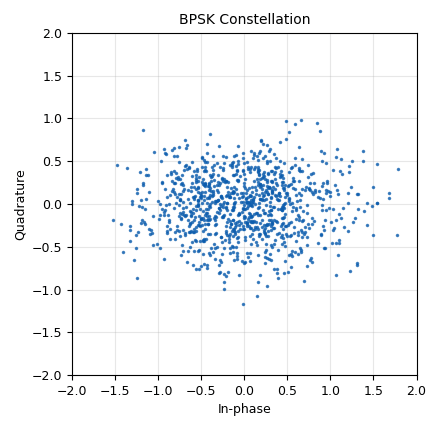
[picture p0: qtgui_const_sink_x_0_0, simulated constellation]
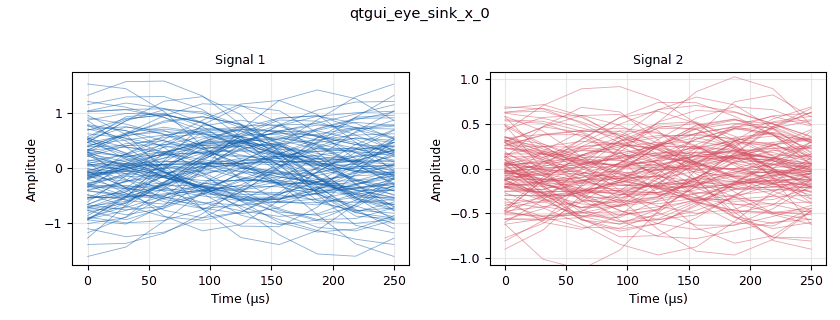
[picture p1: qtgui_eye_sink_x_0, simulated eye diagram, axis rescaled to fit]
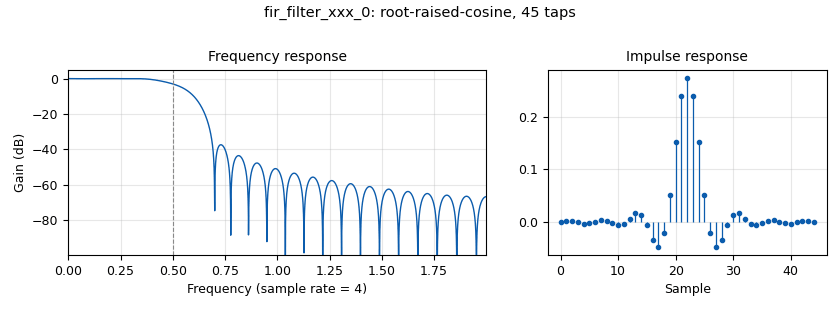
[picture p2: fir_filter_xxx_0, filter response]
options:
  parameters:
    author: santoshsoni
    generate_options: qt_gui
    id: phasekeyshifting
    output_language: python
    title: Not titled yet
  states: {}

blocks:
- name: excess_bw
  id: variable
  parameters:
    value: '0.35'
  states: {}
- name: n_taps
  id: variable
  parameters:
    value: 11*sps
  states: {}
- name: noise_amp
  id: variable_qtgui_range
  parameters:
    start: '0'
    step: '0.05'
    stop: '1'
    value: '0.1'
  states: {}
- name: rrc_taps_rx
  id: variable
  parameters:
    value: firdes.root_raised_cosine(1.0, sps, 1.0, excess_bw, n_taps)
  states: {}
- name: rrc_taps_tx
  id: variable
  parameters:
    value: firdes.root_raised_cosine(sps, sps, 1.0, excess_bw, n_taps)
  states: {}
- name: samp_rate
  id: variable
  parameters:
    value: '32000'
  states: {}
- name: sps
  id: variable
  parameters:
    value: '4'
  states: {}
- name: timing_delay
  id: variable_qtgui_range
  parameters:
    start: '0'
    step: '1'
    stop: sps-1
    value: '0'
  states: {}
- name: analog_noise_source_x_0
  id: analog_noise_source_x
  parameters:
    amp: '1'
    noise_type: analog.GR_GAUSSIAN
    seed: '0'
    type: complex
  states: {}
- name: analog_random_source_x_0
  id: analog_random_source_x
  parameters:
    max: '2'
    min: '0'
    num_samps: '1000'
    repeat: 'True'
    type: int
  states: {}
- name: blocks_add_xx_0_0
  id: blocks_add_xx
  parameters:
    type: complex
  states: {}
- name: blocks_delay_0_0
  id: blocks_delay
  parameters:
    delay: '0'
    type: complex
  states: {}
- name: blocks_keep_one_in_n_0_0
  id: blocks_keep_one_in_n
  parameters:
    n: '2'
    type: complex
  states: {}
- name: blocks_throttle2_0
  id: blocks_throttle2
  parameters:
    samples_per_second: samp_rate
    type: complex
  states: {}
- name: digital_chunks_to_symbols_xx_0
  id: digital_chunks_to_symbols_xx
  parameters:
    dimension: '1'
    in_type: int
    out_type: complex
    symbol_table: '[-1,1]'
  states: {}
- name: fir_filter_xxx_0
  id: fir_filter_xxx
  parameters:
    decim: '1'
    taps: firdes.root_raised_cosine(1.0, 4, 1.0, excess_bw, n_taps)
    type: ccc
  states: {}
- name: interp_fir_filter_xxx_0
  id: interp_fir_filter_xxx
  parameters:
    interp: '1'
    taps: firdes.root_raised_cosine(1.0, 4, 1.0, excess_bw, n_taps)
    type: ccc
  states: {}
- name: qtgui_const_sink_x_0_0
  id: qtgui_const_sink_x
  parameters:
    name: '"BPSK Constellation"'
    size: '1024'
    type: complex
  states: {}
- name: qtgui_eye_sink_x_0
  id: qtgui_eye_sink_x
  parameters:
    samp_per_symbol: '4'
    size: '1024'
    srate: samp_rate
    type: complex
  states: {}

connections:
- [analog_noise_source_x_0, '0', blocks_add_xx_0_0, '1']
- [analog_random_source_x_0, '0', digital_chunks_to_symbols_xx_0, '0']
- [blocks_add_xx_0_0, '0', fir_filter_xxx_0, '0']
- [blocks_delay_0_0, '0', blocks_keep_one_in_n_0_0, '0']
- [blocks_keep_one_in_n_0_0, '0', qtgui_const_sink_x_0_0, '0']
- [blocks_throttle2_0, '0', interp_fir_filter_xxx_0, '0']
- [digital_chunks_to_symbols_xx_0, '0', blocks_throttle2_0, '0']
- [fir_filter_xxx_0, '0', blocks_delay_0_0, '0']
- [fir_filter_xxx_0, '0', qtgui_eye_sink_x_0, '0']
- [interp_fir_filter_xxx_0, '0', blocks_add_xx_0_0, '0']

metadata:
  file_format: 1
  grc_version: 3.10.12.0
